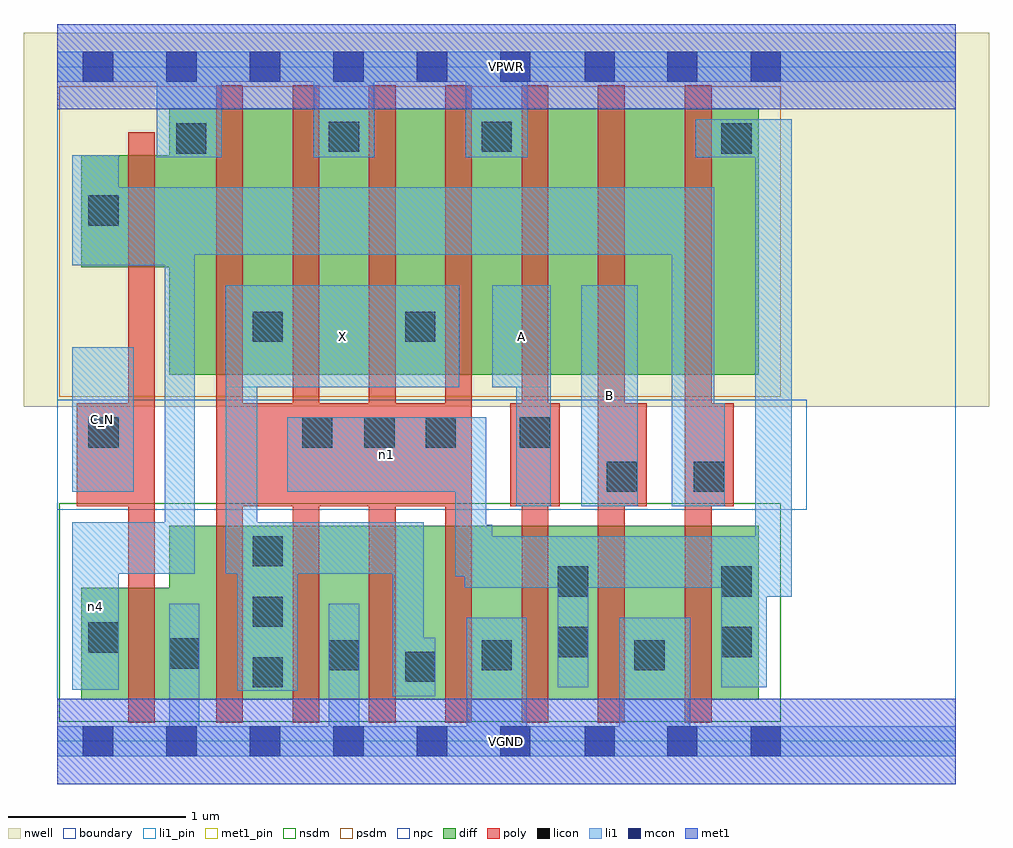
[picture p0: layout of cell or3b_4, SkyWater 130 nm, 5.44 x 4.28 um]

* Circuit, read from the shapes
.subckt or3b_4 A B C_N VGND VPWR X n1 n4
XM1 VGND C_N n4 VSUBS sky130_fd_pr__nfet_01v8 w=0.63 l=0.15
XM2 X n1 VGND VSUBS sky130_fd_pr__nfet_01v8 w=0.98 l=0.15 m=4
XM3 n1 A VGND VSUBS sky130_fd_pr__nfet_01v8 w=0.98 l=0.15
XM4 VGND B n1 VSUBS sky130_fd_pr__nfet_01v8 w=0.98 l=0.15
XM5 n1 n4 VGND VSUBS sky130_fd_pr__nfet_01v8 w=0.98 l=0.15
XM6 VPWR C_N n4 n2 sky130_fd_pr__pfet_01v8 w=0.63 l=0.15
XM7 X n1 VPWR n2 sky130_fd_pr__pfet_01v8 w=1.5 l=0.15 m=4
XM8 n3 A VPWR n2 sky130_fd_pr__pfet_01v8 w=1.5 l=0.15
XM9 n5 B n3 n2 sky130_fd_pr__pfet_01v8 w=1.5 l=0.15
XM10 n1 n4 n5 n2 sky130_fd_pr__pfet_01v8 w=1.5 l=0.15
.ends

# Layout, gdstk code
import gdstk
lib = gdstk.Library(unit=1e-6, precision=1e-09)
def R(c, l, rs):  # rectangles x0, y0, x1, y1
    for r in rs: c.add(gdstk.rectangle(r[:2], r[2:], *l))
def A(c, l, x, y, w, h, nx, ny, dx, dy):  # array of equal rectangles
    R(c, l, [(x+i*dx, y+j*dy, x+i*dx+w, y+j*dy+h) for i in range(nx) for j in range(ny)])
nwell = (64, 20)
diff = (65, 20)
poly = (66, 20)
licon = (66, 44)
li1_pin = (67, 16)
li1 = (67, 20)
mcon = (67, 44)
met1_pin = (68, 16)
met1 = (68, 20)
nsdm = (93, 44)
psdm = (94, 20)
npc = (95, 20)
boundary = (235, 4)

or3b_4 = lib.new_cell('or3b_4')
R(or3b_4, nwell, [(-0.19,1.885,5.25,3.99), (0,1.885,5.06,3.99)])
R(or3b_4, diff, [(0.135,0.235,3.95,0.865), (0.63,0.235,3.95,1.215), (0.63,2.065,3.95,3.565), (0.135,2.67,3.95,3.3)])
A(or3b_4, poly, 0.895, 0.105, 0.15, 3.59, 6, 1, 0.43, 0)
R(or3b_4, poly, [(0.4,0.105,0.55,3.43), (3.535,0.105,3.685,3.695), (0.11,1.325,0.55,1.905), (0.895,1.325,2.335,1.905), (2.55,1.325,2.83,1.905), (3.045,1.325,3.32,1.905), (3.535,1.325,3.81,1.905)])
A(or3b_4, licon, 1.1, 0.305, 0.17, 0.17, 1, 3, 0, 0.34)
A(or3b_4, licon, 1.53, 0.4, 0.17, 0.17, 3, 1, 0.86, 0)
R(or3b_4, licon, [(1.96,0.335,2.13,0.505), (0.63,0.41,0.8,0.58), (2.82,0.475,2.99,0.645), (3.74,0.475,3.91,0.645), (0.175,0.5,0.345,0.67), (2.82,0.815,2.99,0.985), (3.74,0.815,3.91,0.985), (3.095,1.405,3.265,1.575), (3.585,1.405,3.755,1.575), (0.175,1.655,0.345,1.825), (1.38,1.655,1.55,1.825), (1.73,1.655,1.9,1.825), (2.075,1.655,2.245,1.825), (2.605,1.655,2.775,1.825), (1.1,2.25,1.27,2.42), (1.96,2.25,2.13,2.42), (0.175,2.905,0.345,3.075), (0.67,3.31,0.84,3.48), (3.74,3.31,3.91,3.48), (1.53,3.32,1.7,3.49), (2.39,3.32,2.56,3.49)])
R(or3b_4, li1_pin, [(2.95,1.325,3.27,2.57), (0.085,1.405,0.43,2.22), (0.95,1.995,2.265,2.57), (2.45,1.995,2.78,2.57)])
R(or3b_4, li1, [(0,-0.085,5.06,0.085), (0.63,-0.085,0.8,0.775), (1.53,-0.085,1.7,0.775), (2.305,-0.085,2.645,0.695), (3.165,-0.085,3.565,0.695), (1.89,0.255,2.065,1.235), (1.89,0.255,2.13,0.585), (1.015,0.285,1.355,1.235), (0.085,0.29,0.345,1.235), (2.82,0.305,2.99,1.155), (3.74,0.305,3.995,1.155), (3.93,0.815,4.135,3.505), (2.295,0.865,4.135,1.155), (2.24,0.93,2.415,1.825), (2.24,0.93,2.45,1.22), (0.085,0.945,0.775,1.235), (0.605,0.945,0.775,3.12), (0.95,0.945,2.065,1.235), (0.95,0.945,1.125,2.57), (2.585,1.325,2.78,2.57), (2.95,1.325,3.27,2.57), (3.46,1.325,3.7,3.12), (3.46,1.325,3.76,1.905), (0.085,1.405,0.43,2.22), (1.295,1.405,2.415,1.825), (0.95,1.995,2.265,2.57), (2.45,1.995,2.78,2.57), (0.085,2.68,0.345,3.3), (0.085,2.68,0.775,3.12), (0.085,2.74,3.7,3.12), (0.56,3.29,0.925,3.885), (1.445,3.29,1.785,3.885), (2.3,3.29,2.65,3.885), (3.595,3.29,4.135,3.505), (0,3.715,5.06,3.885)])
A(or3b_4, mcon, 0.145, -0.085, 0.17, 0.17, 6, 2, 0.47, 3.8)
R(or3b_4, mcon, [(2.97,-0.085,3.14,0.085), (3.435,-0.085,3.605,0.085), (3.905,-0.085,4.075,0.085), (2.97,3.715,3.14,3.885), (3.435,3.715,3.605,3.885), (3.905,3.715,4.075,3.885)])
R(or3b_4, met1_pin, [(0,-0.24,5.06,0.24), (0,3.56,5.06,4.04)])
R(or3b_4, met1, [(0,-0.24,5.06,0.24), (0,3.56,5.06,4.04)])
R(or3b_4, nsdm, [(0.01,0.11,4.075,1.34)])
R(or3b_4, psdm, [(0.01,1.94,4.075,3.69)])
R(or3b_4, npc, [(0,1.305,4.22,1.925)])
R(or3b_4, boundary, [(0,0,5.06,3.8)])
or3b_4.add(gdstk.Label('A', (2.615,2.282), layer=67, texttype=5))
or3b_4.add(gdstk.Label('B', (3.11,1.947), layer=67, texttype=5))
or3b_4.add(gdstk.Label('C_N', (0.257,1.812), layer=67, texttype=5))
or3b_4.add(gdstk.Label('X', (1.607,2.282), layer=67, texttype=5))
or3b_4.add(gdstk.Label('n4', (0.215,0.762), layer=67, texttype=5))
or3b_4.add(gdstk.Label('n1', (1.855,1.615), layer=67, texttype=5))
or3b_4.add(gdstk.Label('VPWR', (2.53,3.8), layer=68, texttype=5))
or3b_4.add(gdstk.Label('VGND', (2.53,0), layer=68, texttype=5))
or3b_4.add(gdstk.Label('A', (2.615,2.282), layer=67, texttype=16))
or3b_4.add(gdstk.Label('B', (3.11,1.947), layer=67, texttype=16))
or3b_4.add(gdstk.Label('C_N', (0.257,1.812), layer=67, texttype=16))
or3b_4.add(gdstk.Label('X', (1.607,2.282), layer=67, texttype=16))
or3b_4.add(gdstk.Label('VPWR', (2.53,3.8), layer=68, texttype=16))
or3b_4.add(gdstk.Label('VGND', (2.53,0), layer=68, texttype=16))

lib.write_gds('or3b_4.gds')
